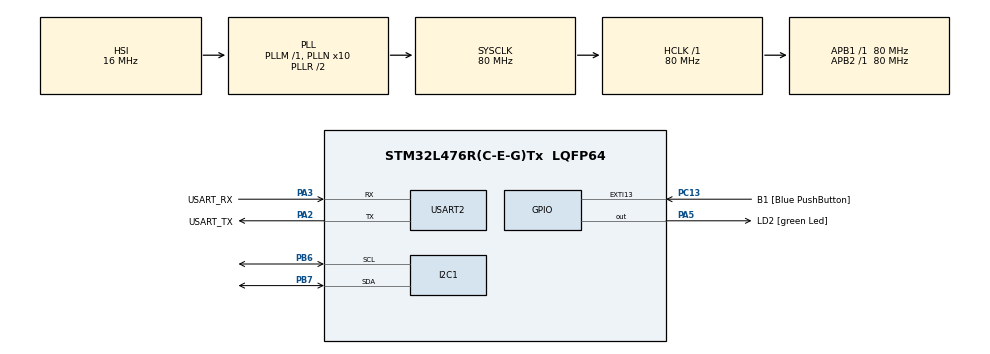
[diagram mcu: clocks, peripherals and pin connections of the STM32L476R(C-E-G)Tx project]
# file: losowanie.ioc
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I2C1.Timing=0x10D19CE4
Mcu.Family=STM32L4
Mcu.Name=STM32L476R(C-E-G)Tx
Mcu.Package=LQFP64
NVIC.EXTI15_10_IRQn=true\:0\:0\:false\:false\:true\:true\:true\:true
NVIC.PriorityGroup=NVIC_PRIORITYGROUP_4
NVIC.TIM2_IRQn=true\:0\:0\:false\:false\:true\:true\:true\:true
PA13\ (JTMS-SWDIO).GPIO_Label=TMS
PA13\ (JTMS-SWDIO).Mode=Serial_Wire
PA13\ (JTMS-SWDIO).Signal=SYS_JTMS-SWDIO
PA14\ (JTCK-SWCLK).GPIO_Label=TCK
PA14\ (JTCK-SWCLK).Mode=Serial_Wire
PA14\ (JTCK-SWCLK).Signal=SYS_JTCK-SWCLK
PA2.GPIO_Label=USART_TX
PA2.GPIO_Mode=GPIO_MODE_AF_PP
PA2.GPIO_PuPd=GPIO_NOPULL
PA2.GPIO_Speed=GPIO_SPEED_FREQ_VERY_HIGH
PA2.Mode=Asynchronous
PA2.Signal=USART2_TX
PA3.GPIO_Label=USART_RX
PA3.GPIO_Mode=GPIO_MODE_AF_PP
PA3.GPIO_PuPd=GPIO_NOPULL
PA3.GPIO_Speed=GPIO_SPEED_FREQ_VERY_HIGH
PA3.Mode=Asynchronous
PA3.Signal=USART2_RX
PA5.GPIO_Label=LD2 [green Led]
PA5.GPIO_ModeDefaultOutputPP=GPIO_MODE_OUTPUT_PP
PA5.GPIO_PuPd=GPIO_NOPULL
PA5.GPIO_Speed=GPIO_SPEED_FREQ_LOW
PA5.Signal=GPIO_Output
PB3\ (JTDO-TRACESWO).GPIO_Label=SWO
PB3\ (JTDO-TRACESWO).Signal=SYS_JTDO-SWO
PB6.Mode=I2C
PB6.Signal=I2C1_SCL
PB7.Mode=I2C
PB7.Signal=I2C1_SDA
PC13.GPIO_Label=B1 [Blue PushButton]
PC13.GPIO_ModeDefaultEXTI=GPIO_MODE_IT_FALLING
PC13.GPIO_PuPd=GPIO_NOPULL
PC13.Signal=GPXTI13
PC14-OSC32_IN\ (PC14).Mode=LSE-External-Oscillator
PC14-OSC32_IN\ (PC14).Signal=RCC_OSC32_IN
PC15-OSC32_OUT\ (PC15).Mode=LSE-External-Oscillator
PC15-OSC32_OUT\ (PC15).Signal=RCC_OSC32_OUT
PH0-OSC_IN\ (PH0).Signal=RCC_OSC_IN
PH1-OSC_OUT\ (PH1).Signal=RCC_OSC_OUT
ProjectManager.HeapSize=0x200
ProjectManager.StackSize=0x400
ProjectManager.TargetToolchain=STM32CubeIDE
RCC.ADCFreq_Value=64000000
RCC.AHBFreq_Value=80000000
RCC.APB1Freq_Value=80000000
RCC.APB1TimFreq_Value=80000000
RCC.APB2Freq_Value=80000000
RCC.APB2TimFreq_Value=80000000
RCC.CortexFreq_Value=80000000
RCC.HCLKFreq_Value=80000000
RCC.HSE_VALUE=8000000
RCC.HSI_VALUE=16000000
RCC.MSI_VALUE=4000000
RCC.PLLN=10
RCC.PLLSourceVirtual=RCC_PLLSOURCE_HSI
RCC.PREFETCH_ENABLE=1
RCC.SYSCLKFreq_VALUE=80000000
RCC.SYSCLKSource=RCC_SYSCLKSOURCE_PLLCLK
RCC.USBFreq_Value=64000000
RCC.VCOOutputFreq_Value=160000000
TIM2.Period=9999
TIM2.Prescaler=7999
TIM3.Prescaler=0
USART2.VirtualMode-Asynchronous=VM_ASYNC
VP_TIM2_VS_ClockSourceINT.Mode=Internal
VP_TIM3_VS_ClockSourceINT.Mode=Internal
board=NUCLEO-L476RG

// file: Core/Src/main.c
/* USER CODE BEGIN Header */
/**
  ******************************************************************************
  * @file           : main.c
  * @brief          : Main program body
  ******************************************************************************
  * @attention
  *
  * Copyright (c) 2025 STMicroelectronics.
  * All rights reserved.
  *
  * This software is licensed under terms that can be found in the LICENSE file
  * in the root directory of this software component.
  * If no LICENSE file comes with this software, it is provided AS-IS.
  *
  ******************************************************************************
  */
/* USER CODE END Header */
#include "main.h"

/* USER CODE BEGIN Includes */
#include <stdio.h>
#include <string.h>
#include "ssd1306.h"
#include "ssd1306_fonts.h"
#include <stdlib.h>
#include<stdbool.h>
/* USER CODE END Includes */

I2C_HandleTypeDef hi2c1;

TIM_HandleTypeDef htim2;
TIM_HandleTypeDef htim3;

UART_HandleTypeDef huart2;

/* USER CODE BEGIN PV */

const unsigned char icon_pistol[]={0x00, 0x00, 0x00, 0x00, 0x00, 0x00, 0x00, 0x00, 0x00, 0x00, 0x00, 0x00, 0x00, 0x00, 0x00, 0x00,
		0x00, 0x00, 0x00, 0x00, 0x60, 0x00, 0x00, 0xe0, 0x9f, 0xc0, 0x07, 0xf0, 0x8f, 0xc0, 0x07, 0xf0,
		0x7f, 0xff, 0xff, 0xf0, 0x7f, 0xff, 0xff, 0xf8, 0x7f, 0xff, 0xff, 0xf8, 0x00, 0x0c, 0x7f, 0xe0,
		0x00, 0x08, 0x4f, 0xc0, 0x00, 0x08, 0x0f, 0xc0, 0x00, 0x08, 0x1f, 0xe0, 0x00, 0x0f, 0xef, 0xe0,
		0x00, 0x00, 0x0f, 0xf0, 0x00, 0x00, 0x07, 0xf0, 0x00, 0x00, 0x07, 0xf0, 0x00, 0x00, 0x03, 0xf8,
		0x00, 0x00, 0x03, 0xf8, 0x00, 0x00, 0x03, 0xfc, 0x00, 0x00, 0x01, 0xfc, 0x00, 0x00, 0x01, 0xfc,
		0x00, 0x00, 0x03, 0xfc, 0x00, 0x00, 0x00, 0x00, 0x00, 0x00, 0x00, 0x00, 0x00, 0x00, 0x00, 0x00,
		0x00, 0x00, 0x00, 0x00, 0x00, 0x00, 0x00, 0x00, 0x00, 0x00, 0x00, 0x00, 0x00, 0x00, 0x00, 0x00};
const unsigned char icon_skull[]={0x00, 0x00, 0x00, 0x00, 0x00, 0x00, 0x00, 0x00, 0x00, 0x00, 0x00, 0x00, 0x00, 0x00, 0x00, 0x00,
		0x00, 0x3f, 0xfc, 0x00, 0x00, 0x7f, 0xfe, 0x00, 0x00, 0xff, 0xff, 0x00, 0x00, 0xff, 0xff, 0x00,
		0x00, 0x87, 0xe1, 0x00, 0x03, 0x81, 0xc1, 0xc0, 0x03, 0x81, 0x80, 0xc0, 0x03, 0x81, 0xc1, 0xc0,
		0x03, 0x81, 0xc1, 0xc0, 0x03, 0x87, 0xe1, 0xc0, 0x01, 0xff, 0xff, 0xc0, 0x00, 0xfe, 0x7f, 0x00,
		0x00, 0x7e, 0x7e, 0x00, 0x00, 0x3f, 0xfc, 0x00, 0x00, 0x1f, 0xf8, 0x00, 0x00, 0x39, 0xdc, 0x00,
		0x00, 0x39, 0xdc, 0x00, 0x00, 0x00, 0x00, 0x00, 0x00, 0x00, 0x00, 0x00, 0x00, 0x00, 0x00, 0x00,
		0x00, 0x00, 0x00, 0x00, 0x00, 0x00, 0x00, 0x00, 0x00, 0x00, 0x00, 0x00, 0x00, 0x00, 0x00, 0x00,
		0x00, 0x00, 0x00, 0x00, 0x00, 0x00, 0x00, 0x00, 0x00, 0x00, 0x00, 0x00, 0x00, 0x00, 0x00, 0x00};
const unsigned char icon_sword[]={0x00, 0x00, 0x00, 0x00, 0x00, 0x00, 0x00, 0x40, 0x00, 0x00, 0x00, 0x80, 0x00, 0x00, 0x03, 0x00,
		0x00, 0x00, 0x06, 0x00, 0x00, 0x00, 0x0c, 0x00, 0x00, 0x00, 0x18, 0x00, 0x00, 0x00, 0x30, 0x00,
		0x00, 0x00, 0x70, 0x00, 0x00, 0x00, 0xe0, 0x00, 0x00, 0x01, 0xc0, 0x00, 0x00, 0x01, 0xc0, 0x00,
		0x00, 0x03, 0x80, 0x00, 0x00, 0x03, 0x00, 0x00, 0x00, 0x07, 0x00, 0x00, 0x00, 0x07, 0x00, 0x00,
		0x00, 0x06, 0x00, 0x00, 0x00, 0x0e, 0x00, 0x00, 0x00, 0x0c, 0x00, 0x00, 0x00, 0x1c, 0x00, 0x00,
		0x00, 0x0c, 0x00, 0x00, 0x00, 0x0c, 0x00, 0x00, 0x00, 0x0f, 0x80, 0x00, 0x00, 0x78, 0x40, 0x00,
		0x00, 0x88, 0x00, 0x00, 0x00, 0x08, 0x00, 0x00, 0x00, 0x08, 0x00, 0x00, 0x00, 0x08, 0x00, 0x00,
		0x00, 0x08, 0x00, 0x00, 0x00, 0x1c, 0x00, 0x00, 0x00, 0x1c, 0x00, 0x00, 0x00, 0x00, 0x00, 0x00};
const unsigned char znak_zapytania[]={0xff, 0xff, 0xff, 0xff, 0xff, 0xc0, 0x03, 0xff, 0xff, 0xc0, 0x01, 0xff, 0xff, 0x80, 0x00, 0xff,
		0xff, 0x87, 0xf0, 0xff, 0xff, 0x0f, 0xfc, 0x7f, 0xff, 0x0f, 0xfc, 0x7f, 0xff, 0x0f, 0xfc, 0x7f,
		0xff, 0x0f, 0xfc, 0x7f, 0xff, 0x07, 0xfc, 0x7f, 0xff, 0x87, 0xfc, 0x7f, 0xff, 0xe7, 0xf8, 0x7f,
		0xff, 0xff, 0xf8, 0x7f, 0xff, 0xff, 0xf0, 0xff, 0xff, 0xff, 0x81, 0xff, 0xff, 0xf8, 0x03, 0xff,
		0xff, 0xf8, 0x07, 0xff, 0xff, 0xf8, 0x3f, 0xff, 0xff, 0xf8, 0xff, 0xff, 0xff, 0xf8, 0xff, 0xff,
		0xff, 0xf8, 0xff, 0xff, 0xff, 0xf8, 0xff, 0xff, 0xff, 0xf8, 0xff, 0xff, 0xff, 0xff, 0xff, 0xff,
		0xff, 0xff, 0xff, 0xff, 0xff, 0xfc, 0xff, 0xff, 0xff, 0xf0, 0x3f, 0xff, 0xff, 0xe0, 0x1f, 0xff,
		0xff, 0xe0, 0x1f, 0xff, 0xff, 0xf0, 0x3f, 0xff, 0xff, 0xf8, 0x7f, 0xff, 0xff, 0xff, 0xff, 0xff};
const unsigned char * symbole[] = {
		icon_skull,
		icon_pistol,
		icon_sword,
		znak_zapytania,
};
enum StanGry{
	oczekiwanie,
	krecenie,
	odkrycie1,
	odkrycie2,
	odkrycie3,
	wynik,
};
volatile enum StanGry aktualny_stan=oczekiwanie;
volatile uint8_t counter =0;
volatile int wynik1,wynik2,wynik3;

/* USER CODE END PV */

void SystemClock_Config(void);
static void MX_GPIO_Init(void);
static void MX_USART2_UART_Init(void);
static void MX_I2C1_Init(void);
static void MX_TIM2_Init(void);
static void MX_TIM3_Init(void);

int main(void)
{

  /* MCU Configuration--------------------------------------------------------*/

  /* Reset of all peripherals, Initializes the Flash interface and the Systick. */
  HAL_Init();

  /* Configure the system clock */
  SystemClock_Config();

  /* Initialize all configured peripherals */
  MX_GPIO_Init();
  MX_USART2_UART_Init();
  MX_I2C1_Init();
  MX_TIM2_Init();
  MX_TIM3_Init();
  /* USER CODE BEGIN 2 */
  HAL_TIM_Base_Start(&htim3);
  ssd1306_Init();
  /* USER CODE END 2 */

  /* Infinite loop */
  while (1)
  {

    /* USER CODE BEGIN 3 */

	  	  if(aktualny_stan==oczekiwanie){
	  		ssd1306_Fill(Black);
	  		ssd1306_SetCursor(15,16);
	  		ssd1306_WriteString("Witamy", Font_16x24, White);
	  		ssd1306_SetCursor(0, 0);

	  		ssd1306_UpdateScreen();

	  		HAL_Delay(50);
	  	  }else if(aktualny_stan == krecenie){
	  		ssd1306_Fill(Black);
	  		ssd1306_DrawBitmap(8, 12, symbole[3], 32, 32, White);
	  		ssd1306_DrawBitmap(48, 12, symbole[3], 32, 32, White);
	  		ssd1306_DrawBitmap(88, 12, symbole[3], 32, 32, White);

	  		ssd1306_UpdateScreen();

	  		HAL_Delay(50);
	  	  }else if(aktualny_stan == odkrycie1){
	  		ssd1306_Fill(Black);
	  		ssd1306_DrawBitmap(8, 12, symbole[wynik1], 32, 32, White);
	  		ssd1306_DrawBitmap(48, 12, symbole[3], 32, 32, White);
	  		ssd1306_DrawBitmap(88, 12, symbole[3], 32, 32, White);

	  			  		ssd1306_UpdateScreen();

	  			  		HAL_Delay(50);

	  	  }else if(aktualny_stan == odkrycie2){
		  		ssd1306_Fill(Black);
		  		ssd1306_DrawBitmap(8, 12, symbole[wynik1], 32, 32, White);
		  		ssd1306_DrawBitmap(48, 12, symbole[wynik2], 32, 32, White);
		  		ssd1306_DrawBitmap(88, 12, symbole[3], 32, 32, White);

		  		ssd1306_UpdateScreen();

		  		HAL_Delay(50);
	  	  }else if(aktualny_stan == odkrycie3){
		  		ssd1306_Fill(Black);
		  		ssd1306_DrawBitmap(8, 12, symbole[wynik1], 32, 32, White);
		  		ssd1306_DrawBitmap(48, 12, symbole[wynik2], 32, 32, White);
		  		ssd1306_DrawBitmap(88, 12, symbole[wynik3], 32, 32, White);

		  		ssd1306_UpdateScreen();

		  	HAL_Delay(50);
	  	  }

  }
  /* USER CODE END 3 */
}

void SystemClock_Config(void)
{
  RCC_OscInitTypeDef RCC_OscInitStruct = {0};
  RCC_ClkInitTypeDef RCC_ClkInitStruct = {0};

  /** Configure the main internal regulator output voltage
  */
  if (HAL_PWREx_ControlVoltageScaling(PWR_REGULATOR_VOLTAGE_SCALE1) != HAL_OK)
  {
    Error_Handler();
  }

  /** Initializes the RCC Oscillators according to the specified parameters
  * in the RCC_OscInitTypeDef structure.
  */
  RCC_OscInitStruct.OscillatorType = RCC_OSCILLATORTYPE_HSI;
  RCC_OscInitStruct.HSIState = RCC_HSI_ON;
  RCC_OscInitStruct.HSICalibrationValue = RCC_HSICALIBRATION_DEFAULT;
  RCC_OscInitStruct.PLL.PLLState = RCC_PLL_ON;
  RCC_OscInitStruct.PLL.PLLSource = RCC_PLLSOURCE_HSI;
  RCC_OscInitStruct.PLL.PLLM = 1;
  RCC_OscInitStruct.PLL.PLLN = 10;
  RCC_OscInitStruct.PLL.PLLP = RCC_PLLP_DIV7;
  RCC_OscInitStruct.PLL.PLLQ = RCC_PLLQ_DIV2;
  RCC_OscInitStruct.PLL.PLLR = RCC_PLLR_DIV2;
  if (HAL_RCC_OscConfig(&RCC_OscInitStruct) != HAL_OK)
  {
    Error_Handler();
  }

  /** Initializes the CPU, AHB and APB buses clocks
  */
  RCC_ClkInitStruct.ClockType = RCC_CLOCKTYPE_HCLK|RCC_CLOCKTYPE_SYSCLK
                              |RCC_CLOCKTYPE_PCLK1|RCC_CLOCKTYPE_PCLK2;
  RCC_ClkInitStruct.SYSCLKSource = RCC_SYSCLKSOURCE_PLLCLK;
  RCC_ClkInitStruct.AHBCLKDivider = RCC_SYSCLK_DIV1;
  RCC_ClkInitStruct.APB1CLKDivider = RCC_HCLK_DIV1;
  RCC_ClkInitStruct.APB2CLKDivider = RCC_HCLK_DIV1;

  if (HAL_RCC_ClockConfig(&RCC_ClkInitStruct, FLASH_LATENCY_4) != HAL_OK)
  {
    Error_Handler();
  }
}

static void MX_I2C1_Init(void)
{

  hi2c1.Instance = I2C1;
  hi2c1.Init.Timing = 0x10D19CE4;
  hi2c1.Init.OwnAddress1 = 0;
  hi2c1.Init.AddressingMode = I2C_ADDRESSINGMODE_7BIT;
  hi2c1.Init.DualAddressMode = I2C_DUALADDRESS_DISABLE;
  hi2c1.Init.OwnAddress2 = 0;
  hi2c1.Init.OwnAddress2Masks = I2C_OA2_NOMASK;
  hi2c1.Init.GeneralCallMode = I2C_GENERALCALL_DISABLE;
  hi2c1.Init.NoStretchMode = I2C_NOSTRETCH_DISABLE;
  if (HAL_I2C_Init(&hi2c1) != HAL_OK)
  {
    Error_Handler();
  }

  /** Configure Analogue filter
  */
  if (HAL_I2CEx_ConfigAnalogFilter(&hi2c1, I2C_ANALOGFILTER_ENABLE) != HAL_OK)
  {
    Error_Handler();
  }

  /** Configure Digital filter
  */
  if (HAL_I2CEx_ConfigDigitalFilter(&hi2c1, 0) != HAL_OK)
  {
    Error_Handler();
  }

}

static void MX_TIM2_Init(void)
{

  TIM_ClockConfigTypeDef sClockSourceConfig = {0};
  TIM_MasterConfigTypeDef sMasterConfig = {0};

  htim2.Instance = TIM2;
  htim2.Init.Prescaler = 7999;
  htim2.Init.CounterMode = TIM_COUNTERMODE_UP;
  htim2.Init.Period = 9999;
  htim2.Init.ClockDivision = TIM_CLOCKDIVISION_DIV1;
  htim2.Init.AutoReloadPreload = TIM_AUTORELOAD_PRELOAD_DISABLE;
  if (HAL_TIM_Base_Init(&htim2) != HAL_OK)
  {
    Error_Handler();
  }
  sClockSourceConfig.ClockSource = TIM_CLOCKSOURCE_INTERNAL;
  if (HAL_TIM_ConfigClockSource(&htim2, &sClockSourceConfig) != HAL_OK)
  {
    Error_Handler();
  }
  sMasterConfig.MasterOutputTrigger = TIM_TRGO_RESET;
  sMasterConfig.MasterSlaveMode = TIM_MASTERSLAVEMODE_DISABLE;
  if (HAL_TIMEx_MasterConfigSynchronization(&htim2, &sMasterConfig) != HAL_OK)
  {
    Error_Handler();
  }

}

static void MX_TIM3_Init(void)
{

  TIM_ClockConfigTypeDef sClockSourceConfig = {0};
  TIM_MasterConfigTypeDef sMasterConfig = {0};

  htim3.Instance = TIM3;
  htim3.Init.Prescaler = 0;
  htim3.Init.CounterMode = TIM_COUNTERMODE_UP;
  htim3.Init.Period = 65535;
  htim3.Init.ClockDivision = TIM_CLOCKDIVISION_DIV1;
  htim3.Init.AutoReloadPreload = TIM_AUTORELOAD_PRELOAD_DISABLE;
  if (HAL_TIM_Base_Init(&htim3) != HAL_OK)
  {
    Error_Handler();
  }
  sClockSourceConfig.ClockSource = TIM_CLOCKSOURCE_INTERNAL;
  if (HAL_TIM_ConfigClockSource(&htim3, &sClockSourceConfig) != HAL_OK)
  {
    Error_Handler();
  }
  sMasterConfig.MasterOutputTrigger = TIM_TRGO_RESET;
  sMasterConfig.MasterSlaveMode = TIM_MASTERSLAVEMODE_DISABLE;
  if (HAL_TIMEx_MasterConfigSynchronization(&htim3, &sMasterConfig) != HAL_OK)
  {
    Error_Handler();
  }

}

static void MX_USART2_UART_Init(void)
{

  huart2.Instance = USART2;
  huart2.Init.BaudRate = 115200;
  huart2.Init.WordLength = UART_WORDLENGTH_8B;
  huart2.Init.StopBits = UART_STOPBITS_1;
  huart2.Init.Parity = UART_PARITY_NONE;
  huart2.Init.Mode = UART_MODE_TX_RX;
  huart2.Init.HwFlowCtl = UART_HWCONTROL_NONE;
  huart2.Init.OverSampling = UART_OVERSAMPLING_16;
  huart2.Init.OneBitSampling = UART_ONE_BIT_SAMPLE_DISABLE;
  huart2.AdvancedInit.AdvFeatureInit = UART_ADVFEATURE_NO_INIT;
  if (HAL_UART_Init(&huart2) != HAL_OK)
  {
    Error_Handler();
  }

}

static void MX_GPIO_Init(void)
{
  GPIO_InitTypeDef GPIO_InitStruct = {0};

  /* GPIO Ports Clock Enable */
  __HAL_RCC_GPIOC_CLK_ENABLE();
  __HAL_RCC_GPIOH_CLK_ENABLE();
  __HAL_RCC_GPIOA_CLK_ENABLE();
  __HAL_RCC_GPIOB_CLK_ENABLE();

  /*Configure GPIO pin Output Level */
  HAL_GPIO_WritePin(LD2_GPIO_Port, LD2_Pin, GPIO_PIN_RESET);

  /*Configure GPIO pin : B1_Pin */
  GPIO_InitStruct.Pin = B1_Pin;
  GPIO_InitStruct.Mode = GPIO_MODE_IT_FALLING;
  GPIO_InitStruct.Pull = GPIO_NOPULL;
  HAL_GPIO_Init(B1_GPIO_Port, &GPIO_InitStruct);

  /*Configure GPIO pin : LD2_Pin */
  GPIO_InitStruct.Pin = LD2_Pin;
  GPIO_InitStruct.Mode = GPIO_MODE_OUTPUT_PP;
  GPIO_InitStruct.Pull = GPIO_NOPULL;
  GPIO_InitStruct.Speed = GPIO_SPEED_FREQ_LOW;
  HAL_GPIO_Init(LD2_GPIO_Port, &GPIO_InitStruct);

  /* EXTI interrupt init*/
  HAL_NVIC_SetPriority(EXTI15_10_IRQn, 0, 0);
  HAL_NVIC_EnableIRQ(EXTI15_10_IRQn);

}

/* USER CODE BEGIN 4 */
void HAL_GPIO_EXTI_Callback(uint16_t GPIO_Pin){
	if(GPIO_Pin == B1_Pin){
		if(aktualny_stan == oczekiwanie){
			HAL_TIM_Base_Start_IT(&htim2);
			srand(__HAL_TIM_GET_COUNTER(&htim3));
			wynik1 = rand()%3;
			wynik2 = rand()%3;
			wynik3 = rand()%3;
			aktualny_stan = krecenie;
		}

	}
}
void HAL_TIM_PeriodElapsedCallback(TIM_HandleTypeDef *htim){
	if(htim->Instance == TIM2){
		if(aktualny_stan==oczekiwanie||aktualny_stan == wynik){
			counter=0;
		}
		counter++;
		if(counter==3){
			aktualny_stan = odkrycie1;
		}if(counter==4){
			aktualny_stan = odkrycie2;
		}if(counter==5){
			aktualny_stan = odkrycie3;
		}if(counter==6){
			aktualny_stan = wynik;
			HAL_TIM_Base_Stop(&htim3);
		}
	}
}
/* USER CODE END 4 */

void Error_Handler(void)
{
  __disable_irq();
  while (1)
  {
  }
}
